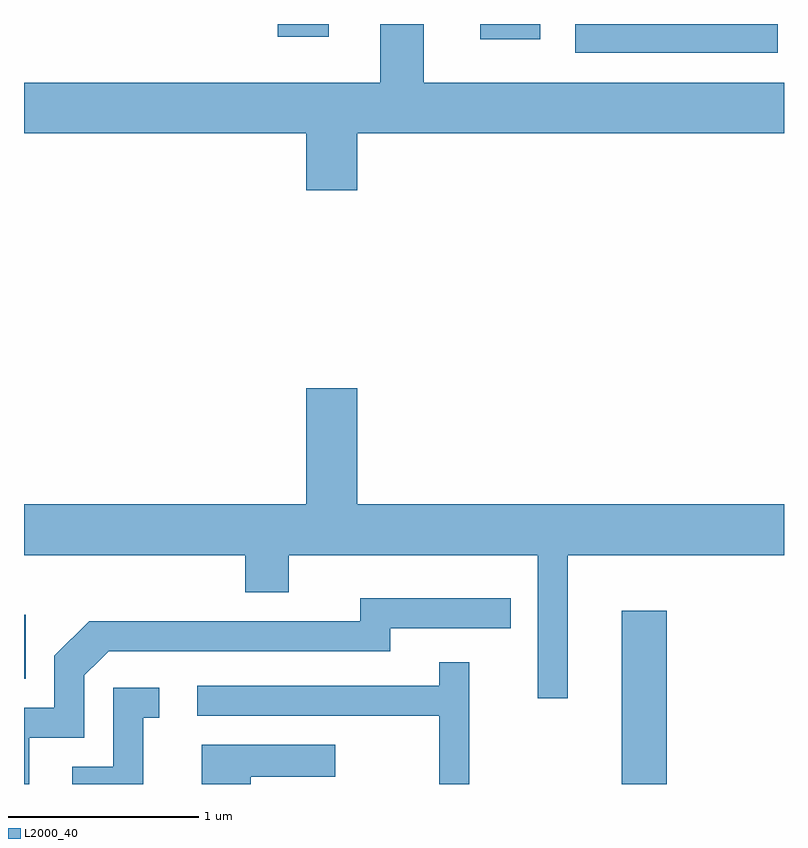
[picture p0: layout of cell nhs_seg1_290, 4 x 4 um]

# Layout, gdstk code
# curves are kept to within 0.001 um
import gdstk
lib = gdstk.Library(unit=1e-6, precision=1e-09)
def R(c, l, rs):  # rectangles x0, y0, x1, y1
    for r in rs: c.add(gdstk.rectangle(r[:2], r[2:], *l))
def P(c, l, *ps):  # polygons
    for p in ps: c.add(gdstk.Polygon(p, *l))
L2000_40 = (2000, 40)

nhs_seg1_290 = lib.new_cell('nhs_seg1_290')
R(nhs_seg1_290, L2000_40, [(196.756,891.712,196.994,892.624), (193.611,892.266,193.619,892.603), (196.511,895.561,197.579,895.712), (196.013,895.631,196.329,895.712), (194.946,895.646,195.214,895.712)])
P(nhs_seg1_290, L2000_40, [(195.364,895.136),(197.611,895.136),(197.611,895.404),(195.714,895.404),(195.714,895.712),(195.486,895.712),(195.486,895.404),(193.611,895.404),(193.611,895.136),(195.096,895.136),(195.096,894.836),(195.364,894.836)],
  [(196.474,892.916),(197.611,892.916),(197.611,893.184),(195.364,893.184),(195.364,893.794),(195.096,893.794),(195.096,893.184),(193.611,893.184),(193.611,892.916),(194.776,892.916),(194.776,892.721),(195.004,892.721),(195.004,892.916),(196.316,892.916),(196.316,892.163),(196.474,892.163)],
  [(193.639,891.956),(193.929,891.956),(193.929,892.284),(194.057,892.411),(195.539,892.411),(195.539,892.531),(196.173,892.531),(196.173,892.689),(195.381,892.689),(195.381,892.569),(193.954,892.569),(193.771,892.387),(193.771,892.114),(193.611,892.114),(193.611,891.712),(193.639,891.712)],
  [(195.954,892.353),(195.796,892.353),(195.796,892.229),(194.523,892.229),(194.523,892.071),(195.796,892.071),(195.796,891.712),(195.954,891.712)],
  [(194.239,892.061),(194.323,892.061),(194.323,892.219),(194.081,892.219),(194.081,891.804),(193.866,891.804),(193.866,891.712),(194.239,891.712)],
  [(194.804,891.751),(195.248,891.751),(195.248,891.919),(194.546,891.919),(194.546,891.712),(194.804,891.712)])

lib.write_gds('nhs_seg1_290.gds')
